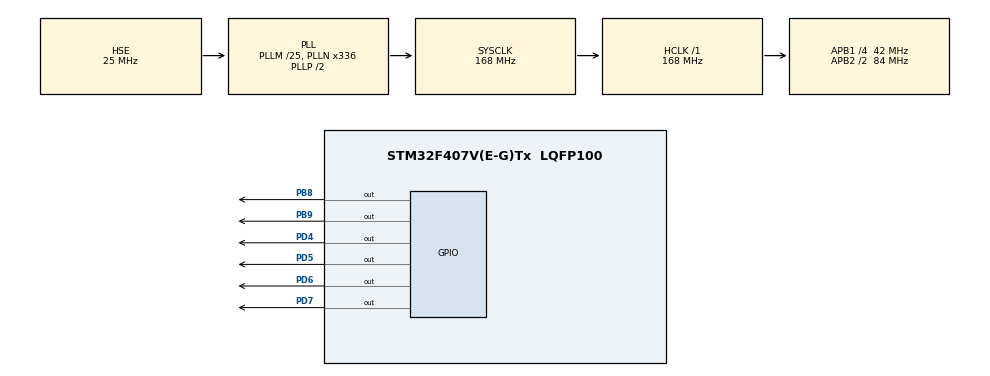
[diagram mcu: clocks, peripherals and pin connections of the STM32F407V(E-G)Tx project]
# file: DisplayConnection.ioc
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Mcu.Family=STM32F4
Mcu.Name=STM32F407V(E-G)Tx
Mcu.Package=LQFP100
NVIC.PriorityGroup=NVIC_PRIORITYGROUP_4
PB8.Signal=GPIO_Output
PB9.Signal=GPIO_Output
PD4.Signal=GPIO_Output
PD5.Signal=GPIO_Output
PD6.Signal=GPIO_Output
PD7.Signal=GPIO_Output
PH0-OSC_IN.Mode=HSE-External-Oscillator
PH0-OSC_IN.Signal=RCC_OSC_IN
PH1-OSC_OUT.Mode=HSE-External-Oscillator
PH1-OSC_OUT.Signal=RCC_OSC_OUT
ProjectManager.HeapSize=0x200
ProjectManager.StackSize=0x400
ProjectManager.TargetToolchain=MDK-ARM V5
RCC.48MHZClocksFreq_Value=84000000
RCC.AHBFreq_Value=168000000
RCC.APB1CLKDivider=RCC_HCLK_DIV4
RCC.APB1Freq_Value=42000000
RCC.APB1TimFreq_Value=84000000
RCC.APB2CLKDivider=RCC_HCLK_DIV2
RCC.APB2Freq_Value=84000000
RCC.APB2TimFreq_Value=168000000
RCC.CortexFreq_Value=168000000
RCC.HCLKFreq_Value=168000000
RCC.HSE_VALUE=25000000
RCC.HSI_VALUE=16000000
RCC.LSE_VALUE=32768
RCC.PLLM=25
RCC.PLLN=336
RCC.PLLSourceVirtual=RCC_PLLSOURCE_HSE
RCC.SYSCLKFreq_VALUE=168000000
RCC.SYSCLKSource=RCC_SYSCLKSOURCE_PLLCLK
RCC.VCOOutputFreq_Value=336000000
board=custom

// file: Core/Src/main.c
/* USER CODE BEGIN Header */
/**
  ******************************************************************************
  * @file           : main.c
  * @brief          : Main program body
  ******************************************************************************
  * @attention
  *
  * <h2><center>&copy; Copyright (c) 2021 STMicroelectronics.
  * All rights reserved.</center></h2>
  *
  * This software component is licensed by ST under BSD 3-Clause license,
  * the "License"; You may not use this file except in compliance with the
  * License. You may obtain a copy of the License at:
  *                        opensource.org/licenses/BSD-3-Clause
  *
  ******************************************************************************
  */
/* USER CODE END Header */

#include "stm32f4xx_hal.h"

#include <stdio.h>
/* USER CODE BEGIN Includes */
#include "main.h"
#include "lcd.h"
/* USER CODE END Includes */

void SystemClock_Config(void);
static void MX_GPIO_Init(void);

int main(void)
{
  /* USER CODE BEGIN 1 */
  //char str[] = "HELLO"; //переменная для строки
	uint32_t i=0;
	char str[100];
  /* USER CODE END 1 */

  /* MCU Configuration--------------------------------------------------------*/

  /* Reset of all peripherals, Initializes the Flash interface and the Systick. */
  HAL_Init();

  /* Configure the system clock */
  SystemClock_Config();

  /* Initialize all configured peripherals */
  MX_GPIO_Init();
  /* USER CODE BEGIN 2 */
  LCD_ini();

//	LCD_SendChar('H');//выводим симво 'H'
//	LCD_SendChar('E');//выводим симво 'E'
//	LCD_SendChar('L');//выводим симво 'L'
//	LCD_SendChar('L');//выводим симво 'L'
//	LCD_SendChar('O');//выводим симво 'O'

	//LCD_String(str);//выводим текст строкой, а не символьно!

	    // sprintf(str,"Hello");//вывод на экран на разных позициях
     // LCD_String(str);
    //LCD_SetPos(10, 2);
   // sprintf(str,"World");
  // LCD_String(str);
 //HAL_Delay(2000);
 //  LCD_Clear();//очистка дисплея

sprintf(str, "STM32"); //вывод символов
        LCD_String(str);
        HAL_Delay(2000);
        LCD_Clear();
        LCD_SetPos(4,0);
        LCD_SendChar('H');
        LCD_SetPos(8,1);
        LCD_SendChar('E');
        LCD_SetPos(12,2);
        LCD_SendChar('L');
        LCD_SetPos(16,3);
        LCD_SendChar('L');
        LCD_SendChar('O');
        HAL_Delay(2000);

  /* USER CODE END 2 */

  /* Infinite loop */
  while (1)
  {

		//Счетчики:
 LCD_SetPos(0,0);
 LCD_SendChar((char) ((i/100)%10) + 0x30);
 LCD_SendChar((char) ((i/10)%10) + 0x30);
 LCD_SendChar((char) (i%10) + 0x30);
 LCD_SetPos(16,1);
 LCD_SendChar((char) (((i+250)/100)%10) + 0x30);
 LCD_SendChar((char) (((i+250)/10)%10) + 0x30);
 LCD_SendChar((char) ((i+250)%10) + 0x30);
 LCD_SetPos(6,2);
 LCD_SendChar((char) (((i+500)/100)%10) + 0x30);
 LCD_SendChar((char) (((i+500)/10)%10) + 0x30);
 LCD_SendChar((char) ((i+500)%10) + 0x30);
 LCD_SetPos(9,3);
 LCD_SendChar((char) (((i+750)/100)%10) + 0x30);
 LCD_SendChar((char) (((i+750)/10)%10) + 0x30);
 LCD_SendChar((char) ((i+750)%10) + 0x30);
 HAL_Delay(100);
 i++;

  }
}

void SystemClock_Config(void)
{
  RCC_OscInitTypeDef RCC_OscInitStruct = {0};
  RCC_ClkInitTypeDef RCC_ClkInitStruct = {0};

  /** Configure the main internal regulator output voltage
  */
  __HAL_RCC_PWR_CLK_ENABLE();
  __HAL_PWR_VOLTAGESCALING_CONFIG(PWR_REGULATOR_VOLTAGE_SCALE1);
  /** Initializes the RCC Oscillators according to the specified parameters
  * in the RCC_OscInitTypeDef structure.
  */
  RCC_OscInitStruct.OscillatorType = RCC_OSCILLATORTYPE_HSE;
  RCC_OscInitStruct.HSEState = RCC_HSE_ON;
  RCC_OscInitStruct.PLL.PLLState = RCC_PLL_ON;
  RCC_OscInitStruct.PLL.PLLSource = RCC_PLLSOURCE_HSE;
  RCC_OscInitStruct.PLL.PLLM = 25;
  RCC_OscInitStruct.PLL.PLLN = 336;
  RCC_OscInitStruct.PLL.PLLP = RCC_PLLP_DIV2;
  RCC_OscInitStruct.PLL.PLLQ = 4;
  if (HAL_RCC_OscConfig(&RCC_OscInitStruct) != HAL_OK)
  {

  }
  /** Initializes the CPU, AHB and APB buses clocks
  */
  RCC_ClkInitStruct.ClockType = RCC_CLOCKTYPE_HCLK|RCC_CLOCKTYPE_SYSCLK
                              |RCC_CLOCKTYPE_PCLK1|RCC_CLOCKTYPE_PCLK2;
  RCC_ClkInitStruct.SYSCLKSource = RCC_SYSCLKSOURCE_PLLCLK;
  RCC_ClkInitStruct.AHBCLKDivider = RCC_SYSCLK_DIV1;
  RCC_ClkInitStruct.APB1CLKDivider = RCC_HCLK_DIV4;
  RCC_ClkInitStruct.APB2CLKDivider = RCC_HCLK_DIV2;

  if (HAL_RCC_ClockConfig(&RCC_ClkInitStruct, FLASH_LATENCY_5) != HAL_OK)
  {

  }
}

static void MX_GPIO_Init(void)
{
  GPIO_InitTypeDef GPIO_InitStruct = {0};

  /* GPIO Ports Clock Enable */
  __HAL_RCC_GPIOH_CLK_ENABLE();
  __HAL_RCC_GPIOD_CLK_ENABLE();
  __HAL_RCC_GPIOB_CLK_ENABLE();

  /*Configure GPIO pin Output Level */
  HAL_GPIO_WritePin(GPIOD, GPIO_PIN_4|GPIO_PIN_5|GPIO_PIN_6|GPIO_PIN_7, GPIO_PIN_RESET);

  /*Configure GPIO pin Output Level */
  HAL_GPIO_WritePin(GPIOB, GPIO_PIN_8|GPIO_PIN_9, GPIO_PIN_RESET);

  /*Configure GPIO pins : PD4 PD5 PD6 PD7 */
  GPIO_InitStruct.Pin = GPIO_PIN_4|GPIO_PIN_5|GPIO_PIN_6|GPIO_PIN_7;
  GPIO_InitStruct.Mode = GPIO_MODE_OUTPUT_PP;
  GPIO_InitStruct.Pull = GPIO_NOPULL;
  GPIO_InitStruct.Speed = GPIO_SPEED_FREQ_LOW;
  HAL_GPIO_Init(GPIOD, &GPIO_InitStruct);

  /*Configure GPIO pins : PB8 PB9 */
  GPIO_InitStruct.Pin = GPIO_PIN_8|GPIO_PIN_9;
  GPIO_InitStruct.Mode = GPIO_MODE_OUTPUT_PP;
  GPIO_InitStruct.Pull = GPIO_NOPULL;
  GPIO_InitStruct.Speed = GPIO_SPEED_FREQ_LOW;
  HAL_GPIO_Init(GPIOB, &GPIO_InitStruct);

}

void Error_Handler(void)
{
  __disable_irq();
  while (1)
  {
  }
}

/************************ (C) COPYRIGHT STMicroelectronics *****END OF FILE****/
